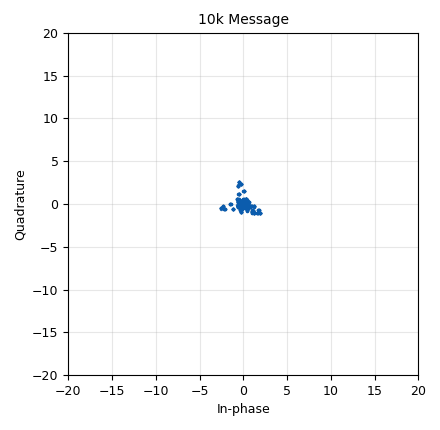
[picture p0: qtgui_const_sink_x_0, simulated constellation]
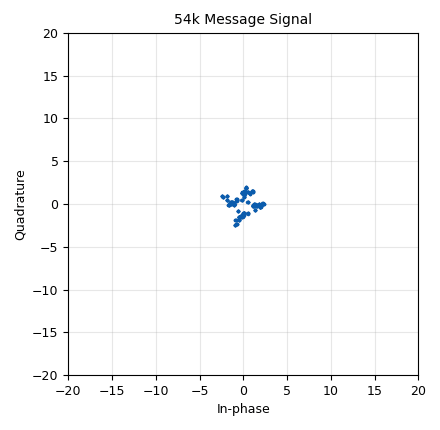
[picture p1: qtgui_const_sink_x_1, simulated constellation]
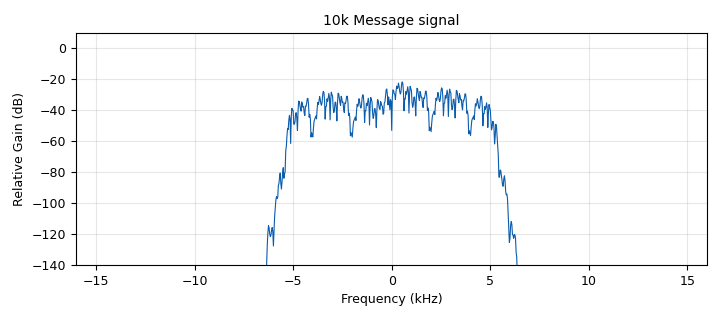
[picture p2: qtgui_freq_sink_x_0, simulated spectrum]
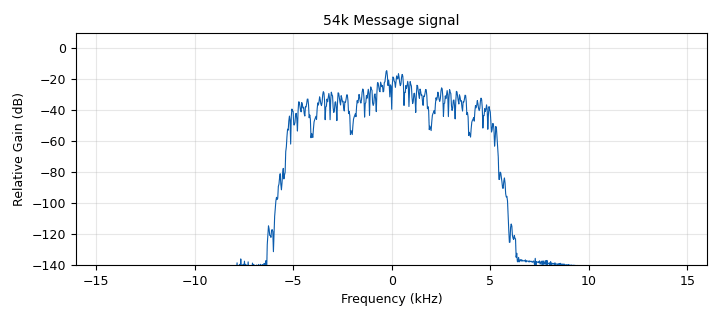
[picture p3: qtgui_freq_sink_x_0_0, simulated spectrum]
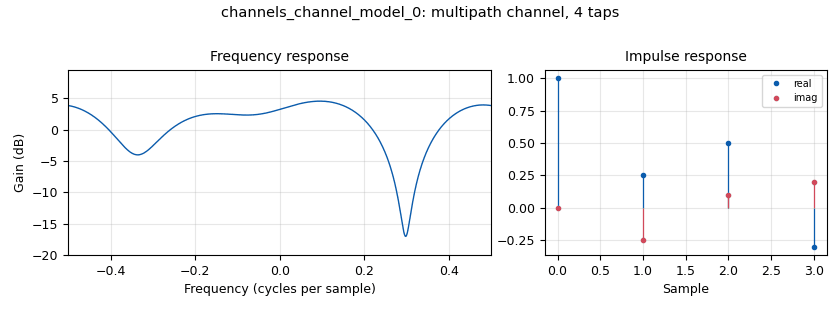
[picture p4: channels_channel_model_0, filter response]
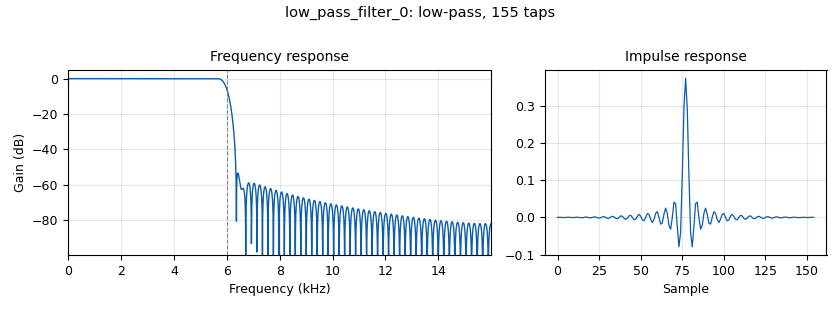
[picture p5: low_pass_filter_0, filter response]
options:
  parameters:
    generate_options: qt_gui
    id: frequency1
    output_language: python
    title: Not titled yet
  states: {}

blocks:
- name: amp1
  id: variable_qtgui_range
  parameters:
    start: '0'
    step: '0.0001'
    stop: '10'
    value: '1'
  states: {}
- name: amp2
  id: variable_qtgui_range
  parameters:
    start: '0'
    step: '0.0001'
    stop: '1'
    value: '1'
  states: {}
- name: freq1
  id: variable_qtgui_range
  parameters:
    start: '0'
    step: 1e3
    stop: 100e3
    value: 1e4
  states: {}
- name: freq2
  id: variable_qtgui_range
  parameters:
    start: '0'
    step: 1e3
    stop: 100e3
    value: 54e3
  states: {}
- name: nv1
  id: variable_qtgui_range
  parameters:
    start: '0'
    step: '1e-6'
    stop: '1'
    value: '1e-6'
  states: {}
- name: nv2
  id: variable_qtgui_range
  parameters:
    start: '0'
    step: '0.1'
    stop: '10'
    value: '1e-6'
  states: {}
- name: qpsk
  id: variable_constellation
  parameters:
    precision: '8'
    type: qpsk
  states: {}
- name: samp_rate
  id: variable
  parameters:
    value: '32000'
  states: {}
- name: sps
  id: variable
  parameters:
    value: '4'
  states: {}
- name: taps
  id: variable
  parameters:
    value: '[1.0, 0.25-0.25j, 0.50+0.10j, -0.3+0.2j]'
  states: {}
- name: variable_adaptive_algorithm_0
  id: variable_adaptive_algorithm
  parameters:
    cons: qpsk
    step_size: '.0001'
    type: lms
  states: {}
- name: analog_random_source_x_0
  id: analog_random_source_x
  parameters:
    max: '2'
    min: '0'
    num_samps: '1000'
    repeat: 'True'
    type: byte
  states: {}
- name: blocks_add_xx_0
  id: blocks_add_xx
  parameters:
    type: complex
  states: {state: disabled}
- name: blocks_freqshift_cc_0
  id: blocks_freqshift_cc
  parameters:
    freq: freq1
    sample_rate: samp_rate
  states: {}
- name: blocks_freqshift_cc_0_0
  id: blocks_freqshift_cc
  parameters:
    freq: '-freq1'
    sample_rate: samp_rate
  states: {}
- name: blocks_freqshift_cc_1
  id: blocks_freqshift_cc
  parameters:
    freq: freq2
    sample_rate: samp_rate
  states: {}
- name: blocks_freqshift_cc_1_0
  id: blocks_freqshift_cc
  parameters:
    freq: '-freq2'
    sample_rate: samp_rate
  states: {}
- name: blocks_message_debug_0
  id: blocks_message_debug
  parameters: {}
  states: {}
- name: blocks_multiply_const_xx_0
  id: blocks_multiply_const_xx
  parameters:
    const: amp1
    type: complex
  states: {}
- name: blocks_multiply_const_xx_1
  id: blocks_multiply_const_xx
  parameters:
    const: amp2
    type: complex
  states: {}
- name: blocks_throttle_0
  id: blocks_throttle
  parameters:
    samples_per_second: samp_rate
    type: complex
  states: {}
- name: blocks_throttle_0_0
  id: blocks_throttle
  parameters:
    samples_per_second: samp_rate
    type: complex
  states: {}
- name: channels_channel_model_0
  id: channels_channel_model
  parameters:
    epsilon: '1.0'
    freq_offset: '0.0'
    noise_voltage: nv1
    seed: '0'
    taps: taps
  states: {}
- name: channels_channel_model_0_0
  id: channels_channel_model
  parameters:
    epsilon: '1.0'
    freq_offset: '0.0'
    noise_voltage: nv2
    seed: '0'
    taps: taps
  states: {}
- name: digital_constellation_modulator_0
  id: digital_constellation_modulator
  parameters:
    constellation: qpsk
    differential: 'True'
    excess_bw: '0.35'
    samples_per_symbol: sps
  states: {}
- name: digital_probe_mpsk_snr_est_c_0
  id: digital_probe_mpsk_snr_est_c
  parameters:
    alpha: '0.001'
    msg_nsamples: int(samp_rate)
    type: '3'
  states: {}
- name: digital_probe_mpsk_snr_est_c_1
  id: digital_probe_mpsk_snr_est_c
  parameters:
    alpha: '0.001'
    msg_nsamples: int(samp_rate/2)
    type: '3'
  states: {}
- name: digital_probe_mpsk_snr_est_c_1_0
  id: digital_probe_mpsk_snr_est_c
  parameters:
    alpha: '0.001'
    msg_nsamples: int(samp_rate/2)
    type: '3'
  states: {}
- name: epy_block_0_0_0
  id: epy_block
  parameters:
    _source_code: |
      """
      Embedded Python Blocks:

      Each time this file is saved, GRC will instantiate the first class it finds
      to get ports and parameters of your block. The arguments to __init__  will
      be the parameters. All of them are required to have default values!
      """

      import numpy as np
      import pmt
      from gnuradio import gr


      class blk(gr.sync_block):  # other base classes are basic_block, decim_block, interp_block
          """Embedded Python Block example - a simple multiply const"""

          def __init__(self):  # only default arguments here
              """arguments to this function show up as parameters in GRC"""
              gr.sync_block.__init__(
                  self,
                  name='Interface',   # will show up in GRC
                  in_sig=None,
                  out_sig=[np.float32]
              )
              # if an attribute with the same name as a parameter is found,
              # a callback is registered (properties work, too).
              self.selectPortName = 'input'
              self.message_port_register_in(pmt.intern(self.selectPortName))
              self.set_msg_handler(pmt.intern(self.selectPortName), self.handle_msg)
              self.selector = 0

          def handle_msg(self, msg):
              self.selector = pmt.to_float(msg)
              
          def work(self, input_items, output_items):
              output_items[0][:] = self.selector
              return len(output_items[0])
  states: {}
- name: epy_block_0_1_0
  id: epy_block
  parameters:
    _source_code: |
      """
      Embedded Python Blocks:

      Each time this file is saved, GRC will instantiate the first class it finds
      to get ports and parameters of your block. The arguments to __init__  will
      be the parameters. All of them are required to have default values!
      """

      import numpy as np
      import pmt
      from gnuradio import gr


      class blk(gr.sync_block):  # other base classes are basic_block, decim_block, interp_block
          """Embedded Python Block example - a simple multiply const"""

          def __init__(self):  # only default arguments here
              """arguments to this function show up as parameters in GRC"""
              gr.sync_block.__init__(
                  self,
                  name='Interface',   # will show up in GRC
                  in_sig=None,
                  out_sig=[np.float32]
              )
              # if an attribute with the same name as a parameter is found,
              # a callback is registered (properties work, too).
              self.selectPortName = 'input'
              self.message_port_register_in(pmt.intern(self.selectPortName))
              self.set_msg_handler(pmt.intern(self.selectPortName), self.handle_msg)
              self.selector = 0

          def handle_msg(self, msg):
              self.selector = pmt.to_float(msg)
              
          def work(self, input_items, output_items):
              output_items[0][:] = self.selector
              return len(output_items[0])
  states: {}
- name: epy_block_0_2
  id: epy_block
  parameters:
    _source_code: |-
      import numpy as np
      from gnuradio import gr
      import pmt
      from gnuradio import grc
      import inspect

      class blk(gr.sync_block):  

          def __init__(self):
              gr.sync_block.__init__(
                  self,
                  name='Switch and Stay Combining Block', 
                  in_sig = [np.complex64,np.complex64],
                  out_sig = [np.complex64]
              )
              self.selectPortName = 'inputSNR_1'
              self.message_port_register_in(pmt.intern(self.selectPortName))
              self.set_msg_handler(pmt.intern(self.selectPortName), self.handle_msg_first)

              self.selectPort = 'inputSNR_2'
              self.message_port_register_in(pmt.intern(self.selectPort))
              self.set_msg_handler(pmt.intern(self.selectPort), self.handle_msg_second)

              self.input_SNR_1 = 0
              self.input_SNR_2 = 0
              self.selected_input=0
              self.threshold = 11
              
              
              

          
          def handle_msg_first(self,msg_1):
              self.input_SNR_1 = pmt.to_double(msg_1)
          
          def handle_msg_second(self,msg_2):
              self.input_SNR_2 = pmt.to_double(msg_2)
          
          def work(self, input_items, output_items):
              if((self.input_SNR_1 > self.threshold) and (self.input_SNR_2 > self.threshold) ):
                  self.selected_input = self.selected_input

              elif((self.input_SNR_1 > self.threshold) and (self.input_SNR_2 < self.threshold)):
                  self.selected_input = 0
              
              elif((self.input_SNR_1 < self.threshold) and (self.input_SNR_2 > self.threshold)):
                  self.selected_input = 1
              
              elif((self.input_SNR_1 < self.threshold) and (self.input_SNR_2 < self.threshold)):
                  if(self.selected_input == 1):  
                      self.selected_input = 0
                  else:
                      self.selected_input = 1
             
              output_items[0][:] = input_items[self.selected_input]
              return len(output_items[0])
  states: {}
- name: epy_block_0_3
  id: epy_block
  parameters:
    _source_code: |
      """
      Embedded Python Blocks:

      Each time this file is saved, GRC will instantiate the first class it finds
      to get ports and parameters of your block. The arguments to __init__  will
      be the parameters. All of them are required to have default values!
      """

      import numpy as np
      import pmt
      from gnuradio import gr


      class blk(gr.sync_block):  # other base classes are basic_block, decim_block, interp_block
          """Embedded Python Block example - a simple multiply const"""

          def __init__(self):  # only default arguments here
              """arguments to this function show up as parameters in GRC"""
              gr.sync_block.__init__(
                  self,
                  name='Interface',   # will show up in GRC
                  in_sig=None,
                  out_sig=[np.float32]
              )
              # if an attribute with the same name as a parameter is found,
              # a callback is registered (properties work, too).
              self.selectPortName = 'input'
              self.message_port_register_in(pmt.intern(self.selectPortName))
              self.set_msg_handler(pmt.intern(self.selectPortName), self.handle_msg)
              self.selector = 0

          def handle_msg(self, msg):
              self.selector = pmt.to_float(msg)
              
          def work(self, input_items, output_items):
              output_items[0][:] = self.selector
              return len(output_items[0])
  states: {}
- name: low_pass_filter_0
  id: low_pass_filter
  parameters:
    cutoff_freq: 6e3
    decim: '1'
    gain: '1'
    samp_rate: samp_rate
    type: fir_filter_ccf
    width: 0.5e3
    win: window.WIN_HAMMING
  states: {}
- name: low_pass_filter_1
  id: low_pass_filter
  parameters:
    cutoff_freq: 6e3
    decim: '1'
    gain: '1'
    samp_rate: samp_rate
    type: fir_filter_ccf
    width: 0.5e3
    win: window.WIN_HAMMING
  states: {}
- name: qtgui_const_sink_x_0
  id: qtgui_const_sink_x
  parameters:
    name: '"10k Message"'
    size: '1024'
    type: complex
    xmax: '20'
    xmin: '-20'
    ymax: '20'
    ymin: '-20'
  states: {}
- name: qtgui_const_sink_x_1
  id: qtgui_const_sink_x
  parameters:
    name: '"54k Message Signal"'
    size: '1024'
    type: complex
    xmax: '20'
    xmin: '-20'
    ymax: '20'
    ymin: '-20'
  states: {}
- name: qtgui_freq_sink_x_0
  id: qtgui_freq_sink_x
  parameters:
    bw: samp_rate
    fc: '0'
    fftsize: '1024'
    name: '"10k Message signal"'
    type: complex
  states: {}
- name: qtgui_freq_sink_x_0_0
  id: qtgui_freq_sink_x
  parameters:
    bw: samp_rate
    fc: '0'
    fftsize: '1024'
    name: '"54k Message signal"'
    type: complex
  states: {}
- name: qtgui_number_sink_0_0_0
  id: qtgui_number_sink
  parameters:
    graph_type: qtgui.NUM_GRAPH_NONE
    name: '"SNR of final selected message"'
    type: float
  states: {}
- name: qtgui_number_sink_0_0_0_0
  id: qtgui_number_sink
  parameters:
    graph_type: qtgui.NUM_GRAPH_NONE
    name: '"SNR of 10k message"'
    type: float
  states: {}
- name: qtgui_number_sink_0_0_0_1
  id: qtgui_number_sink
  parameters:
    graph_type: qtgui.NUM_GRAPH_NONE
    name: '"SNR of 54k message"'
    type: float
  states: {}

connections:
- [analog_random_source_x_0, '0', digital_constellation_modulator_0, '0']
- [blocks_add_xx_0, '0', channels_channel_model_0, '0']
- [blocks_freqshift_cc_0, '0', blocks_add_xx_0, '0']
- [blocks_freqshift_cc_0, '0', channels_channel_model_0, '0']
- [blocks_freqshift_cc_0_0, '0', low_pass_filter_0, '0']
- [blocks_freqshift_cc_1, '0', blocks_add_xx_0, '1']
- [blocks_freqshift_cc_1, '0', channels_channel_model_0_0, '0']
- [blocks_freqshift_cc_1_0, '0', low_pass_filter_1, '0']
- [blocks_multiply_const_xx_0, '0', blocks_freqshift_cc_0, '0']
- [blocks_multiply_const_xx_1, '0', blocks_freqshift_cc_1, '0']
- [blocks_throttle_0, '0', digital_probe_mpsk_snr_est_c_1, '0']
- [blocks_throttle_0, '0', epy_block_0_2, '0']
- [blocks_throttle_0_0, '0', digital_probe_mpsk_snr_est_c_0, '0']
- [blocks_throttle_0_0, '0', epy_block_0_2, '1']
- [channels_channel_model_0, '0', blocks_freqshift_cc_0_0, '0']
- [channels_channel_model_0_0, '0', blocks_freqshift_cc_1_0, '0']
- [digital_constellation_modulator_0, '0', blocks_multiply_const_xx_0, '0']
- [digital_constellation_modulator_0, '0', blocks_multiply_const_xx_1, '0']
- [digital_probe_mpsk_snr_est_c_0, snr, epy_block_0_0_0, input]
- [digital_probe_mpsk_snr_est_c_0, snr, epy_block_0_2, inputSNR_2]
- [digital_probe_mpsk_snr_est_c_1, snr, epy_block_0_2, inputSNR_1]
- [digital_probe_mpsk_snr_est_c_1, snr, epy_block_0_3, input]
- [digital_probe_mpsk_snr_est_c_1_0, snr, blocks_message_debug_0, print]
- [digital_probe_mpsk_snr_est_c_1_0, snr, epy_block_0_1_0, input]
- [epy_block_0_0_0, '0', qtgui_number_sink_0_0_0_1, '0']
- [epy_block_0_1_0, '0', qtgui_number_sink_0_0_0, '0']
- [epy_block_0_2, '0', digital_probe_mpsk_snr_est_c_1_0, '0']
- [epy_block_0_3, '0', qtgui_number_sink_0_0_0_0, '0']
- [low_pass_filter_0, '0', blocks_throttle_0, '0']
- [low_pass_filter_0, '0', qtgui_const_sink_x_0, '0']
- [low_pass_filter_0, '0', qtgui_freq_sink_x_0, '0']
- [low_pass_filter_1, '0', blocks_throttle_0_0, '0']
- [low_pass_filter_1, '0', qtgui_const_sink_x_1, '0']
- [low_pass_filter_1, '0', qtgui_freq_sink_x_0_0, '0']

metadata:
  file_format: 1
  grc_version: 3.10.7.0
